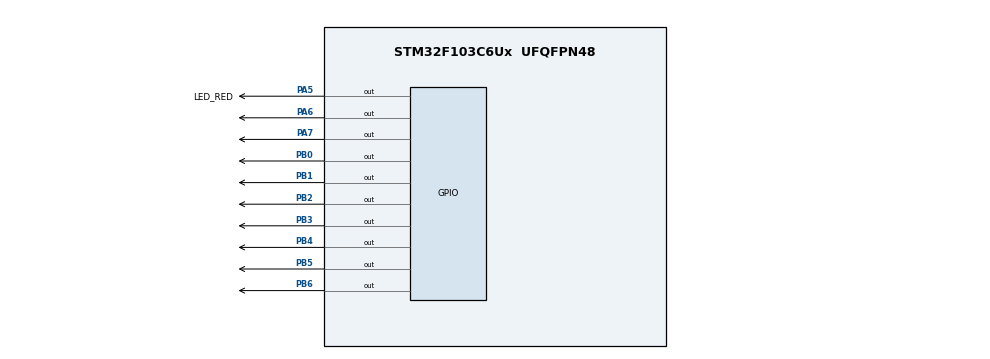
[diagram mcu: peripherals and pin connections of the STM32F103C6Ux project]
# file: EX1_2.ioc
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Mcu.Family=STM32F1
Mcu.Name=STM32F103C6Ux
Mcu.Package=UFQFPN48
NVIC.PriorityGroup=NVIC_PRIORITYGROUP_4
NVIC.TIM2_IRQn=true\:0\:0\:false\:false\:true\:true\:true
PA5.GPIO_Label=LED_RED
PA5.Signal=GPIO_Output
PA6.Signal=GPIO_Output
PA7.Signal=GPIO_Output
PB0.Signal=GPIO_Output
PB1.Signal=GPIO_Output
PB2.Signal=GPIO_Output
PB3.Signal=GPIO_Output
PB4.Signal=GPIO_Output
PB5.Signal=GPIO_Output
PB6.Signal=GPIO_Output
ProjectManager.HeapSize=0x200
ProjectManager.StackSize=0x400
ProjectManager.TargetToolchain=STM32CubeIDE
RCC.APB1Freq_Value=8000000
RCC.APB2Freq_Value=8000000
TIM2.Period=9
TIM2.Prescaler=7999
VP_SYS_VS_ND.Mode=No_Debug
VP_TIM2_VS_ClockSourceINT.Mode=Internal
board=custom

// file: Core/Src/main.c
/* USER CODE BEGIN Header */
/**
  ******************************************************************************
  * @file           : main.c
  * @brief          : Main program body
  ******************************************************************************
  * @attention
  *
  * <h2><center>&copy; Copyright (c) 2022 STMicroelectronics.
  * All rights reserved.</center></h2>
  *
  * This software component is licensed by ST under BSD 3-Clause license,
  * the "License"; You may not use this file except in compliance with the
  * License. You may obtain a copy of the License at:
  *                        opensource.org/licenses/BSD-3-Clause
  *
  ******************************************************************************
  */
/* USER CODE END Header */
#include "main.h"

TIM_HandleTypeDef htim2;

void SystemClock_Config(void);
static void MX_GPIO_Init(void);
static void MX_TIM2_Init(void);

int main(void)
{

  /* MCU Configuration--------------------------------------------------------*/

  /* Reset of all peripherals, Initializes the Flash interface and the Systick. */
  HAL_Init();

  /* Configure the system clock */
  SystemClock_Config();

  /* Initialize all configured peripherals */
  MX_GPIO_Init();
  MX_TIM2_Init();
  /* USER CODE BEGIN 2 */
  HAL_TIM_Base_Start_IT (& htim2 ) ;
  /* USER CODE END 2 */

  /* Infinite loop */
  while (1)
  {

  }
}

void SystemClock_Config(void)
{
  RCC_OscInitTypeDef RCC_OscInitStruct = {0};
  RCC_ClkInitTypeDef RCC_ClkInitStruct = {0};

  /** Initializes the RCC Oscillators according to the specified parameters
  * in the RCC_OscInitTypeDef structure.
  */
  RCC_OscInitStruct.OscillatorType = RCC_OSCILLATORTYPE_HSI;
  RCC_OscInitStruct.HSIState = RCC_HSI_ON;
  RCC_OscInitStruct.HSICalibrationValue = RCC_HSICALIBRATION_DEFAULT;
  RCC_OscInitStruct.PLL.PLLState = RCC_PLL_NONE;
  if (HAL_RCC_OscConfig(&RCC_OscInitStruct) != HAL_OK)
  {
    Error_Handler();
  }
  /** Initializes the CPU, AHB and APB buses clocks
  */
  RCC_ClkInitStruct.ClockType = RCC_CLOCKTYPE_HCLK|RCC_CLOCKTYPE_SYSCLK
                              |RCC_CLOCKTYPE_PCLK1|RCC_CLOCKTYPE_PCLK2;
  RCC_ClkInitStruct.SYSCLKSource = RCC_SYSCLKSOURCE_HSI;
  RCC_ClkInitStruct.AHBCLKDivider = RCC_SYSCLK_DIV1;
  RCC_ClkInitStruct.APB1CLKDivider = RCC_HCLK_DIV1;
  RCC_ClkInitStruct.APB2CLKDivider = RCC_HCLK_DIV1;

  if (HAL_RCC_ClockConfig(&RCC_ClkInitStruct, FLASH_LATENCY_0) != HAL_OK)
  {
    Error_Handler();
  }
}

static void MX_TIM2_Init(void)
{

  TIM_ClockConfigTypeDef sClockSourceConfig = {0};
  TIM_MasterConfigTypeDef sMasterConfig = {0};

  htim2.Instance = TIM2;
  htim2.Init.Prescaler = 7999;
  htim2.Init.CounterMode = TIM_COUNTERMODE_UP;
  htim2.Init.Period = 9;
  htim2.Init.ClockDivision = TIM_CLOCKDIVISION_DIV1;
  htim2.Init.AutoReloadPreload = TIM_AUTORELOAD_PRELOAD_DISABLE;
  if (HAL_TIM_Base_Init(&htim2) != HAL_OK)
  {
    Error_Handler();
  }
  sClockSourceConfig.ClockSource = TIM_CLOCKSOURCE_INTERNAL;
  if (HAL_TIM_ConfigClockSource(&htim2, &sClockSourceConfig) != HAL_OK)
  {
    Error_Handler();
  }
  sMasterConfig.MasterOutputTrigger = TIM_TRGO_RESET;
  sMasterConfig.MasterSlaveMode = TIM_MASTERSLAVEMODE_DISABLE;
  if (HAL_TIMEx_MasterConfigSynchronization(&htim2, &sMasterConfig) != HAL_OK)
  {
    Error_Handler();
  }

}

static void MX_GPIO_Init(void)
{
  GPIO_InitTypeDef GPIO_InitStruct = {0};

  /* GPIO Ports Clock Enable */
  __HAL_RCC_GPIOA_CLK_ENABLE();
  __HAL_RCC_GPIOB_CLK_ENABLE();

  /*Configure GPIO pin Output Level */
  HAL_GPIO_WritePin(GPIOA, LED_RED_Pin|GPIO_PIN_6|GPIO_PIN_7, GPIO_PIN_RESET);

  /*Configure GPIO pin Output Level */
  HAL_GPIO_WritePin(GPIOB, GPIO_PIN_0|GPIO_PIN_1|GPIO_PIN_2|GPIO_PIN_3
                          |GPIO_PIN_4|GPIO_PIN_5|GPIO_PIN_6, GPIO_PIN_RESET);

  /*Configure GPIO pins : LED_RED_Pin PA6 PA7 */
  GPIO_InitStruct.Pin = LED_RED_Pin|GPIO_PIN_6|GPIO_PIN_7;
  GPIO_InitStruct.Mode = GPIO_MODE_OUTPUT_PP;
  GPIO_InitStruct.Pull = GPIO_NOPULL;
  GPIO_InitStruct.Speed = GPIO_SPEED_FREQ_LOW;
  HAL_GPIO_Init(GPIOA, &GPIO_InitStruct);

  /*Configure GPIO pins : PB0 PB1 PB2 PB3
                           PB4 PB5 PB6 */
  GPIO_InitStruct.Pin = GPIO_PIN_0|GPIO_PIN_1|GPIO_PIN_2|GPIO_PIN_3
                          |GPIO_PIN_4|GPIO_PIN_5|GPIO_PIN_6;
  GPIO_InitStruct.Mode = GPIO_MODE_OUTPUT_PP;
  GPIO_InitStruct.Pull = GPIO_NOPULL;
  GPIO_InitStruct.Speed = GPIO_SPEED_FREQ_LOW;
  HAL_GPIO_Init(GPIOB, &GPIO_InitStruct);

}

/* USER CODE BEGIN 4 */
void display7SEG(int num) {
	char led7seg[10] = { 0x40, 0x79, 0x24, 0x30, 0x19, 0x92, 0x02, 0x78, 0x0,
			0x10 };
	for (int i = 0; i < 7; i++) {
		HAL_GPIO_WritePin(GPIOB, GPIO_PIN_0 << i, (led7seg[num] >> i) & 1);
	}
}
int counter = 100;
void HAL_TIM_PeriodElapsedCallback(TIM_HandleTypeDef *htim) {
	counter--;
	if (counter <= 0) {
		display7SEG(1);
		counter = 100;
		HAL_GPIO_WritePin(GPIOA, GPIO_PIN_6, RESET);
		HAL_GPIO_WritePin(GPIOA, GPIO_PIN_7, SET);
	} else if (counter < 50) {
		display7SEG(2);
		HAL_GPIO_WritePin(GPIOA, GPIO_PIN_6, SET);
		HAL_GPIO_WritePin(GPIOA, GPIO_PIN_7, RESET);
	} else {
		display7SEG(1);
		HAL_GPIO_WritePin(GPIOA, GPIO_PIN_6, RESET);
		HAL_GPIO_WritePin(GPIOA, GPIO_PIN_7, SET);
	}

}
/* USER CODE END 4 */

void Error_Handler(void)
{
  __disable_irq();
  while (1)
  {
  }
}

/************************ (C) COPYRIGHT STMicroelectronics *****END OF FILE****/
